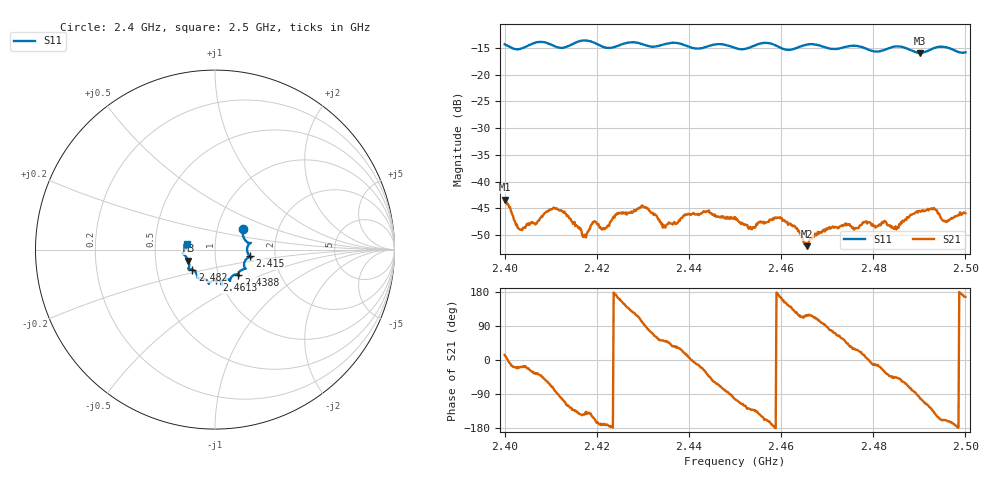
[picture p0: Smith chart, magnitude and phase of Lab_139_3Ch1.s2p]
# Hz S RI R 50
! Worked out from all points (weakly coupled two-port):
!   601 points, 2.4 GHz to 2.5 GHz, reference 50 ohm
!   highest |S21| = -43.40 dB at 2.4 GHz (marker M1); lowest = -52.1 dB at 2.4657 GHz (marker M2)
!   lowest |S11| = -15.9 dB at 2.4902 GHz (marker M3), VSWR 1.38, Z = 36.8 - j4.63 ohm
!   |S11| at or under -10 dB: start of sweep to end of sweep
!   S12 and S22 are empty: the file has one direction only
!   S11 on the Smith chart (normalised r, x): 2.4 GHz: 1.33, +0.31; 2.415 GHz: 1.47, -0.11; 2.4388 GHz: 1.24, -0.36; 2.4613 GHz: 0.96, -0.34; 2.482 GHz: 0.76, -0.17; 2.5 GHz: 0.72, +0.05
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2.4e9  0.1571 0.1123  0.00658 0.00153  0 0  0 0
2.403333e9  0.1646 0.0578  0.00336 -0.00117  0 0  0 0
2.410833e9  0.1841 0.0226  0.000965 -0.00559  0 0  0 0
2.415e9  0.1928 -0.0363  -0.00272 -0.003  0 0  0 0
2.416667e9  0.2037 -0.0441  -0.00283 -0.002  0 0  0 0
2.429833e9  0.161 -0.1085  -0.00117 0.00586  0 0  0 0
2.433333e9  0.1318 -0.1316  0.00256 0.00359  0 0  0 0
2.434833e9  0.1302 -0.1432  0.00243 0.00279  0 0  0 0
2.438833e9  0.1295 -0.1404  0.00446 0.00169  0 0  0 0
2.45e9  0.0687 -0.1646  -0.0011 -0.00452  0 0  0 0
2.453333e9  0.037 -0.1772  -0.00241 -0.0029  0 0  0 0
2.458833e9  0.0348 -0.1851  -0.00462 -1.73e-05  0 0  0 0
2.461333e9  0.00787 -0.1711  -0.00348 0.00234  0 0  0 0
2.465667e9  -0.0348 -0.1887  -0.00116 0.00219  0 0  0 0
2.466667e9  -0.0348 -0.1903  -0.00133 0.00261  0 0  0 0
2.470833e9  -0.0518 -0.1673  0.000705 0.0036  0 0  0 0
2.482e9  -0.1259 -0.1117  0.00379 -0.00177  0 0  0 0
2.483333e9  -0.1397 -0.1089  0.00301 -0.0025  0 0  0 0
2.490167e9  -0.1483 -0.0613  -0.00108 -0.00518  0 0  0 0
2.493333e9  -0.1773 -0.0245  -0.00429 -0.0035  0 0  0 0
2.495833e9  -0.1803 -0.0174  -0.00391 -0.00146  0 0  0 0
2.5e9  -0.1586 0.0325  -0.0049 0.00117  0 0  0 0
